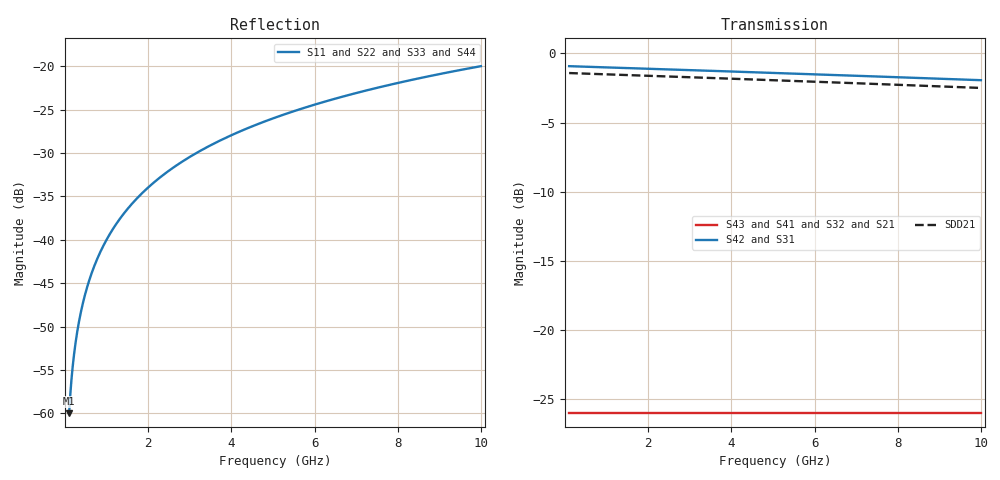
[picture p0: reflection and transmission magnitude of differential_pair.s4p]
! Differential pair S-parameters
! Ports: 1=P+, 2=P-, 3=N+, 4=N-
# Hz S RI R 50
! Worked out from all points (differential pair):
!   201 points, 100 MHz to 10 GHz, reference 50 ohm
!   strongest paths, dB at 100 MHz, 316.2 MHz, 1 GHz, 3.162 GHz, 10 GHz:
!     S42: -0.9, -0.9, -1.0, -1.2, -1.9
!     S31: -0.9, -0.9, -1.0, -1.2, -1.9
!     S43: -26.0, -26.0, -26.0, -26.0, -26.0
!     S41: -26.0, -26.0, -26.0, -26.0, -26.0
!     S32: -26.0, -26.0, -26.0, -26.0, -26.0
!     S21: -26.0, -26.0, -26.0, -26.0, -26.0
!   taken as a pair (ports 2,1 in; 4,3 out), SDD21 dB: -1.4, -1.4, -1.5, -1.7, -2.5
!   lowest |S11| = -60.0 dB at 100 MHz (marker M1), VSWR 1.00, Z = 50.1 - j0.031 ohm
!   |S11| at or under -10 dB: start of sweep to end of sweep
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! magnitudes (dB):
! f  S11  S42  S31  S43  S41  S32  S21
! 100 MHz  -60.0  -0.9  -0.9  -26.0  -26.0  -26.0  -26.0
! 295.1 MHz  -50.6  -0.9  -0.9  -26.0  -26.0  -26.0  -26.0
! 660.7 MHz  -43.6  -1.0  -1.0  -26.0  -26.0  -26.0  -26.0
! 1.259 GHz  -38.0  -1.0  -1.0  -26.0  -26.0  -26.0  -26.0
! 2.138 GHz  -33.4  -1.1  -1.1  -26.0  -26.0  -26.0  -26.0
! 5.129 GHz  -25.8  -1.4  -1.4  -26.0  -26.0  -26.0  -26.0
! 10 GHz  -20.0  -1.9  -1.9  -26.0  -26.0  -26.0  -26.0
